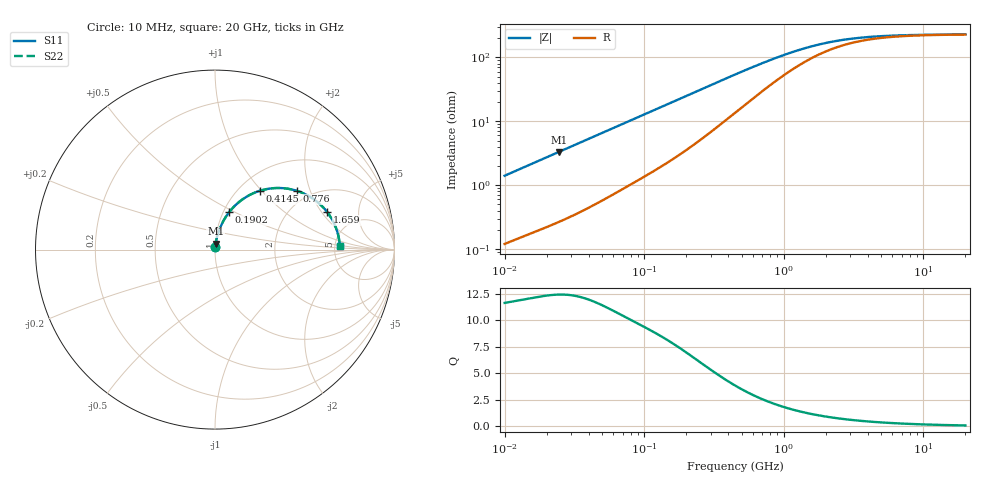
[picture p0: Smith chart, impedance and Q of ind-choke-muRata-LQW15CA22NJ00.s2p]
!Murata Part Number: LQW15CA22NJ00
!These Parameters are Measured in Series Mode Connection
!  o--[Z]--o
!Port1  Port2
!  o-------o
!Freq. Start=10[MHz] Stop=20[GHz], 401[Steps]
# Hz S RI R 50
!Freq.(Hz) S11(Real) S11(Imag) S21(Real) S21(Imag) S12(Real) S12(Imag) S22(Real) S22(Imag)
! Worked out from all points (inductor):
!   401 points, 10 MHz to 20 GHz, reference 50 ohm
!   read as one part in series: L = 22.1 nH near 10.39 MHz
!   highest Q = 12.4 at 24.43 MHz (marker M1), where L = 21.5 nH
!   S11 on the Smith chart (normalised r, x): 10 MHz: 1.00, +0.03; 190.2 MHz: 1.07, +0.47; 414.5 MHz: 1.24, +0.97; 776 MHz: 1.70, +1.63; 1.659 GHz: 3.05, +2.27; 20 GHz: 5.55, +0.37
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1e7  0.0014 0.014  0.9986 -0.014  0.9986 -0.014  0.0014 0.014
1.038736e7  0.00146 0.0145  0.9985 -0.0145  0.9985 -0.0145  0.00146 0.0145
2.442705e7  0.00373 0.0327  0.9963 -0.0327  0.9963 -0.0327  0.00373 0.0327
3.572091e7  0.00612 0.047  0.9939 -0.047  0.9939 -0.047  0.00612 0.047
7.079706e7  0.0168 0.0891  0.9832 -0.0891  0.9832 -0.0891  0.0168 0.0891
1.275983e8  0.042 0.1507  0.958 -0.1507  0.958 -0.1507  0.042 0.1507
1.901731e8  0.0793 0.2092  0.9207 -0.2092  0.9207 -0.2092  0.0793 0.2092
2.343837e8  0.1102 0.2439  0.8898 -0.2439  0.8898 -0.2439  0.1102 0.2439
2.834348e8  0.1473 0.2755  0.8527 -0.2755  0.8527 -0.2755  0.1473 0.2755
4.144811e8  0.2487 0.3273  0.7513 -0.3273  0.7513 -0.3273  0.2487 0.3273
4.472136e8  0.2728 0.334  0.7272 -0.334  0.7272 -0.334  0.2728 0.334
5.835137e8  0.3623 0.3432  0.6377 -0.3432  0.6377 -0.3432  0.3623 0.3432
7.759606e8  0.4566 0.3272  0.5434 -0.3272  0.5434 -0.3272  0.4566 0.3272
1.113368e9  0.5543 0.2779  0.4457 -0.2779  0.4457 -0.2779  0.5543 0.2779
1.597488e9  0.619 0.2167  0.381 -0.2167  0.381 -0.2167  0.619 0.2167
1.659368e9  0.6241 0.2103  0.3759 -0.2103  0.3759 -0.2103  0.6241 0.2103
2.206639e9  0.6534 0.1656  0.3466 -0.1656  0.3466 -0.1656  0.6534 0.1656
2.934404e9  0.6713 0.1279  0.3287 -0.1279  0.3287 -0.1279  0.6713 0.1279
3.977051e9  0.6824 0.0957  0.3176 -0.0957  0.3176 -0.0957  0.6824 0.0957
5.706372e9  0.6894 0.0671  0.3106 -0.0671  0.3106 -0.0671  0.6894 0.0671
1.009107e10  0.694 0.0375  0.306 -0.0375  0.306 -0.0375  0.694 0.0375
2e10  0.6956 0.0173  0.3044 -0.0173  0.3044 -0.0173  0.6956 0.0173
